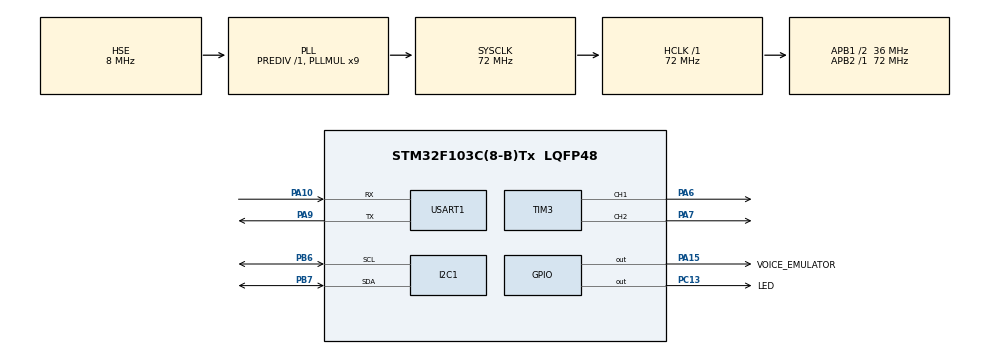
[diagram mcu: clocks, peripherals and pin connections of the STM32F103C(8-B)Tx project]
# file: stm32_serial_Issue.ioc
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Dma.Request0=USART1_TX
Dma.USART1_TX.0.Direction=DMA_MEMORY_TO_PERIPH
Dma.USART1_TX.0.Instance=DMA1_Channel4
Dma.USART1_TX.0.MemDataAlignment=DMA_MDATAALIGN_BYTE
Dma.USART1_TX.0.MemInc=DMA_MINC_ENABLE
Dma.USART1_TX.0.Mode=DMA_NORMAL
Dma.USART1_TX.0.PeriphDataAlignment=DMA_PDATAALIGN_BYTE
Dma.USART1_TX.0.PeriphInc=DMA_PINC_DISABLE
Dma.USART1_TX.0.Priority=DMA_PRIORITY_LOW
FREERTOS.Mutexes01=uart_newText,Dynamic,NULL,Available
FREERTOS.Tasks01=defaultTask,0,128,StartDefaultTask,Default,NULL,Dynamic,NULL,NULL;myTask_1,0,128,StartTask_1,Default,NULL,Dynamic,NULL,NULL;myTask_2,0,128,StartTask_2,Default,NULL,Dynamic,NULL,NULL
Mcu.Family=STM32F1
Mcu.Name=STM32F103C(8-B)Tx
Mcu.Package=LQFP48
NVIC.DMA1_Channel4_IRQn=true\:5\:0\:false\:false\:true\:true\:false\:true\:true
NVIC.PriorityGroup=NVIC_PRIORITYGROUP_4
NVIC.TIM2_IRQn=true\:15\:0\:false\:false\:true\:false\:false\:true\:true
NVIC.TimeBase=TIM2_IRQn
NVIC.TimeBaseIP=TIM2
NVIC.USART1_IRQn=true\:5\:0\:false\:false\:true\:true\:true\:true\:true
PA10.Mode=Asynchronous
PA10.Signal=USART1_RX
PA13.Mode=Serial_Wire
PA13.Signal=SYS_JTMS-SWDIO
PA14.Mode=Serial_Wire
PA14.Signal=SYS_JTCK-SWCLK
PA15.GPIO_Label=VOICE_EMULATOR
PA15.Signal=GPIO_Output
PA6.Signal=S_TIM3_CH1
PA7.Signal=S_TIM3_CH2
PA9.Mode=Asynchronous
PA9.Signal=USART1_TX
PB6.Mode=I2C
PB6.Signal=I2C1_SCL
PB7.Mode=I2C
PB7.Signal=I2C1_SDA
PC13-TAMPER-RTC.GPIO_Label=LED
PC13-TAMPER-RTC.Signal=GPIO_Output
PD0-OSC_IN.Mode=HSE-External-Oscillator
PD0-OSC_IN.Signal=RCC_OSC_IN
PD1-OSC_OUT.Mode=HSE-External-Oscillator
PD1-OSC_OUT.Signal=RCC_OSC_OUT
ProjectManager.HeapSize=0x200
ProjectManager.StackSize=0x400
ProjectManager.TargetToolchain=STM32CubeIDE
RCC.AHBFreq_Value=72000000
RCC.APB1CLKDivider=RCC_HCLK_DIV2
RCC.APB1Freq_Value=36000000
RCC.APB1TimFreq_Value=72000000
RCC.APB2Freq_Value=72000000
RCC.APB2TimFreq_Value=72000000
RCC.HCLKFreq_Value=72000000
RCC.PLLMUL=RCC_PLL_MUL9
RCC.PLLSourceVirtual=RCC_PLLSOURCE_HSE
RCC.SYSCLKFreq_VALUE=72000000
RCC.SYSCLKSource=RCC_SYSCLKSOURCE_PLLCLK
RCC.USBFreq_Value=72000000
SH.S_TIM3_CH1.0=TIM3_CH1,PWM Generation1 CH1
SH.S_TIM3_CH2.0=TIM3_CH2,PWM Generation2 CH2
TIM3.Channel-PWM\ Generation1\ CH1=TIM_CHANNEL_1
TIM3.Channel-PWM\ Generation2\ CH2=TIM_CHANNEL_2
USART1.VirtualMode=VM_ASYNC
VP_FREERTOS_VS_CMSIS_V1.Mode=CMSIS_V1
VP_SYS_VS_tim2.Mode=TIM2
board=custom

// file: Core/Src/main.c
/* USER CODE BEGIN Header */
/**
  ******************************************************************************
  * @file           : main.c
  * @brief          : Main program body
  ******************************************************************************
  * @attention
  *
  * Copyright (c) 2024 STMicroelectronics.
  * All rights reserved.
  *
  * This software is licensed under terms that can be found in the LICENSE file
  * in the root directory of this software component.
  * If no LICENSE file comes with this software, it is provided AS-IS.
  *
  ******************************************************************************
  */
/* USER CODE END Header */
#include "main.h"
#include "cmsis_os.h"

/* USER CODE BEGIN Includes */
#include <stdio.h>

#include "ds3231.h"
//#include "i2c_addrScaner.h"

//#define I2C_SCANER

#ifdef I2C_SCANER
#define I2C_REQUEST_WRITE 0x00 //I2C scanner
#endif

#ifndef USE_FULL_LL_DRIVER
#define USE_FULL_LL_DRIVER
#endif

//#define SET_TIME_DATE

/* USER CODE END Includes */

/* USER CODE BEGIN PTD */

uint8_t dataCl[]="\r";
int isSent =1;

UART_HandleTypeDef huart1;
DMA_HandleTypeDef hdma_usart1_rx;
DMA_HandleTypeDef hdma_usart1_tx;

I2C_HandleTypeDef hi2c1;

/*++++++++ I2C scanner values ++++++++++++*/

char CDC_tx_buff[64];
char CDC_rx_buff[8];
uint8_t CDC_rx_flag = 0;
uint32_t I2C_speed[4] = { 100000, 200000, 300000, 400000 };
/*==========================================*/

/*++++++++ DS3231 values ++++++++++++*/
char I2C_tx_buff_Rg[64];
char I2C_tx_buff_St[64];
char I2C_tx_buff_Sec[64];
char DS3231_get_Sec[64];
char DS3231_get_Min[64];
char DS3231_get_Hour[64];
char DS3231_get_Week[64];
char DS3231_get_Date[64];
char DS3231_get_Yar[64];

uint8_t seconds;
uint8_t minutes;
uint8_t hours;
uint8_t countAlarm1 = 0;
/*==========================================*/

void HAL_UART_TxCpltCallback(UART_HandleTypeDef *huart){
	isSent =1;
}
uint8_t I2C_Check(uint16_t addr);
uint8_t I2C_Roll_Speed(uint16_t addr);

//+++++++++++
void printr(uint8_t reg) {
	sprintf(I2C_tx_buff_Rg, "Reg 0x%02x ", reg);

	  HAL_UART_Transmit_IT(&huart1, I2C_tx_buff_Rg, 64);
	  isSent = 0;
       while(!isSent){
       }

	uint8_t val;
	HAL_I2C_Master_Transmit(_ds3231_ui2c, DS3231_I2C_ADDR << 1, &reg, 1,
			DS3231_TIMEOUT);
	HAL_StatusTypeDef s = HAL_I2C_Master_Receive(_ds3231_ui2c,
			DS3231_I2C_ADDR << 1, &val, 1, DS3231_TIMEOUT);
	for (uint8_t i = 0; i < 8; i++) {
		printf("%d", (val >> (7 - i)) & 1);
	}
	sprintf(I2C_tx_buff_St, "status %d\n\r", s);
	  HAL_UART_Transmit_IT(&huart1, I2C_tx_buff_St, 64);
	  isSent = 0;
     while(!isSent){
     }
	//printf("\n");
}

/* USER CODE END PTD */

I2C_HandleTypeDef hi2c1;

UART_HandleTypeDef huart1;
DMA_HandleTypeDef hdma_usart1_tx;

osThreadId defaultTaskHandle;
osThreadId myTask_1Handle;
osThreadId myTask_2Handle;
osMutexId uart_newTextHandle;

void SystemClock_Config(void);
static void MX_GPIO_Init(void);
static void MX_DMA_Init(void);
static void MX_USART1_UART_Init(void);
static void MX_I2C1_Init(void);
static void MX_TIM3_Init(void);
void StartDefaultTask(void const * argument);
void StartTask_1(void const * argument);
void StartTask_2(void const * argument);

/* USER CODE BEGIN 0 */
typedef  uint32_t TaskProfiler;

TaskProfiler StartTask_1_Profiler, StartTask_2_Profiler, Default_Tread_Profiler;

/* USER CODE END 0 */

int main(void)
{

	__disable_irq();

  /* MCU Configuration--------------------------------------------------------*/

  /* Reset of all peripherals, Initializes the Flash interface and the Systick. */
  HAL_Init();

  /* Configure the system clock */
  SystemClock_Config();

  /* Initialize all configured peripherals */
  MX_GPIO_Init();
  MX_DMA_Init();
  MX_USART1_UART_Init();
  MX_I2C1_Init();
  MX_TIM3_Init();
  /* USER CODE BEGIN 2 */

/*++++++++++++ DS3231 I2C communication +++++++++++++++*/

	//DS3231 init function. Pass I2C handle.
	DS3231_Init(&hi2c1);
	//Disable interrupts while we set interrupt configs.
	__disable_irq();

	//Set interrupt mode to square wave mode, enable square wave interrupt at pin 3.
	DS3231_SetInterruptMode(DS3231_SQUARE_WAVE_INTERRUPT);
	//Set interrupting frequency to 1 Hz.
	DS3231_SetRateSelect(DS3231_1HZ);

#ifdef SET_TIME_DATE
	//Set time.
	DS3231_SetFullTime(18, 29, 00);
	//Set date.
	DS3231_SetFullDate(14, 01, 2, 2025);

#endif
	//Print all register values, for demonstration purpose

#ifdef CHECK_STATUS_REG

  	for(uint8_t i = 0x00; i < 0x13; i++)
    		printr(i);
	//Enable interrupts after finishing.
#endif
  __enable_irq();
  /*============ END DS3231 I2C communication=============*/
  /*++++++++++++ DS3231 ALARMs setings +++++++++++++++*/
   DS3231_EnableAlarm2(DS3231_ENABLED);
   DS3231_ClearAlarm2Flag();
   DS3231_SetAlarm2Minute(14);

   /*
   for(uint8_t min=0; min<60;min++){
   DS3231_SetAlarm2Minute(min);
   }
   */
  /* USER CODE END 2 */

  /* Create the mutex(es) */
  /* definition and creation of uart_newText */
  osMutexDef(uart_newText);
  uart_newTextHandle = osMutexCreate(osMutex(uart_newText));

  /* Create the thread(s) */
  /* definition and creation of defaultTask */
  osThreadDef(defaultTask, StartDefaultTask, osPriorityNormal, 0, 128);
  defaultTaskHandle = osThreadCreate(osThread(defaultTask), NULL);

  /* definition and creation of myTask_1 */
  osThreadDef(myTask_1, StartTask_1, osPriorityNormal, 0, 128);
  myTask_1Handle = osThreadCreate(osThread(myTask_1), NULL);

  /* definition and creation of myTask_2 */
  osThreadDef(myTask_2, StartTask_2, osPriorityNormal, 0, 128);
  myTask_2Handle = osThreadCreate(osThread(myTask_2), NULL);

  /* Start scheduler */
  osKernelStart();

  /* We should never get here as control is now taken by the scheduler */

  /* Infinite loop */
  while (1)
  {

  }
}

void SystemClock_Config(void)
{
  RCC_OscInitTypeDef RCC_OscInitStruct = {0};
  RCC_ClkInitTypeDef RCC_ClkInitStruct = {0};

  /** Initializes the RCC Oscillators according to the specified parameters
  * in the RCC_OscInitTypeDef structure.
  */
  RCC_OscInitStruct.OscillatorType = RCC_OSCILLATORTYPE_HSE;
  RCC_OscInitStruct.HSEState = RCC_HSE_ON;
  RCC_OscInitStruct.HSEPredivValue = RCC_HSE_PREDIV_DIV1;
  RCC_OscInitStruct.HSIState = RCC_HSI_ON;
  RCC_OscInitStruct.PLL.PLLState = RCC_PLL_ON;
  RCC_OscInitStruct.PLL.PLLSource = RCC_PLLSOURCE_HSE;
  RCC_OscInitStruct.PLL.PLLMUL = RCC_PLL_MUL9;
  if (HAL_RCC_OscConfig(&RCC_OscInitStruct) != HAL_OK)
  {
    Error_Handler();
  }

  /** Initializes the CPU, AHB and APB buses clocks
  */
  RCC_ClkInitStruct.ClockType = RCC_CLOCKTYPE_HCLK|RCC_CLOCKTYPE_SYSCLK
                              |RCC_CLOCKTYPE_PCLK1|RCC_CLOCKTYPE_PCLK2;
  RCC_ClkInitStruct.SYSCLKSource = RCC_SYSCLKSOURCE_PLLCLK;
  RCC_ClkInitStruct.AHBCLKDivider = RCC_SYSCLK_DIV1;
  RCC_ClkInitStruct.APB1CLKDivider = RCC_HCLK_DIV2;
  RCC_ClkInitStruct.APB2CLKDivider = RCC_HCLK_DIV1;

  if (HAL_RCC_ClockConfig(&RCC_ClkInitStruct, FLASH_LATENCY_2) != HAL_OK)
  {
    Error_Handler();
  }
}

static void MX_I2C1_Init(void)
{

  hi2c1.Instance = I2C1;
  hi2c1.Init.ClockSpeed = 100000;
  hi2c1.Init.DutyCycle = I2C_DUTYCYCLE_2;
  hi2c1.Init.OwnAddress1 = 0;
  hi2c1.Init.AddressingMode = I2C_ADDRESSINGMODE_7BIT;
  hi2c1.Init.DualAddressMode = I2C_DUALADDRESS_DISABLE;
  hi2c1.Init.OwnAddress2 = 0;
  hi2c1.Init.GeneralCallMode = I2C_GENERALCALL_DISABLE;
  hi2c1.Init.NoStretchMode = I2C_NOSTRETCH_DISABLE;
  if (HAL_I2C_Init(&hi2c1) != HAL_OK)
  {
    Error_Handler();
  }

}

static void MX_TIM3_Init(void)
{

  LL_TIM_InitTypeDef TIM_InitStruct = {0};
  LL_TIM_OC_InitTypeDef TIM_OC_InitStruct = {0};

  LL_GPIO_InitTypeDef GPIO_InitStruct = {0};

  /* Peripheral clock enable */
  LL_APB1_GRP1_EnableClock(LL_APB1_GRP1_PERIPH_TIM3);

  TIM_InitStruct.Prescaler = 0;
  TIM_InitStruct.CounterMode = LL_TIM_COUNTERMODE_UP;
  TIM_InitStruct.Autoreload = 65535;
  TIM_InitStruct.ClockDivision = LL_TIM_CLOCKDIVISION_DIV1;
  LL_TIM_Init(TIM3, &TIM_InitStruct);
  LL_TIM_DisableARRPreload(TIM3);
  LL_TIM_OC_EnablePreload(TIM3, LL_TIM_CHANNEL_CH1);
  TIM_OC_InitStruct.OCMode = LL_TIM_OCMODE_PWM1;
  TIM_OC_InitStruct.OCState = LL_TIM_OCSTATE_DISABLE;
  TIM_OC_InitStruct.OCNState = LL_TIM_OCSTATE_DISABLE;
  TIM_OC_InitStruct.CompareValue = 0;
  TIM_OC_InitStruct.OCPolarity = LL_TIM_OCPOLARITY_HIGH;
  LL_TIM_OC_Init(TIM3, LL_TIM_CHANNEL_CH1, &TIM_OC_InitStruct);
  LL_TIM_OC_DisableFast(TIM3, LL_TIM_CHANNEL_CH1);
  LL_TIM_OC_EnablePreload(TIM3, LL_TIM_CHANNEL_CH2);
  LL_TIM_OC_Init(TIM3, LL_TIM_CHANNEL_CH2, &TIM_OC_InitStruct);
  LL_TIM_OC_DisableFast(TIM3, LL_TIM_CHANNEL_CH2);
  LL_TIM_SetTriggerOutput(TIM3, LL_TIM_TRGO_RESET);
  LL_TIM_DisableMasterSlaveMode(TIM3);
  LL_APB2_GRP1_EnableClock(LL_APB2_GRP1_PERIPH_GPIOA);
  /**TIM3 GPIO Configuration
  PA6   ------> TIM3_CH1
  PA7   ------> TIM3_CH2
  */
  GPIO_InitStruct.Pin = LL_GPIO_PIN_6|LL_GPIO_PIN_7;
  GPIO_InitStruct.Mode = LL_GPIO_MODE_ALTERNATE;
  GPIO_InitStruct.Speed = LL_GPIO_SPEED_FREQ_LOW;
  GPIO_InitStruct.OutputType = LL_GPIO_OUTPUT_PUSHPULL;
  LL_GPIO_Init(GPIOA, &GPIO_InitStruct);

}

static void MX_USART1_UART_Init(void)
{

  huart1.Instance = USART1;
  huart1.Init.BaudRate = 115200;
  huart1.Init.WordLength = UART_WORDLENGTH_8B;
  huart1.Init.StopBits = UART_STOPBITS_1;
  huart1.Init.Parity = UART_PARITY_NONE;
  huart1.Init.Mode = UART_MODE_TX_RX;
  huart1.Init.HwFlowCtl = UART_HWCONTROL_NONE;
  huart1.Init.OverSampling = UART_OVERSAMPLING_16;
  if (HAL_UART_Init(&huart1) != HAL_OK)
  {
    Error_Handler();
  }

}

static void MX_DMA_Init(void)
{

  /* DMA controller clock enable */
  __HAL_RCC_DMA1_CLK_ENABLE();

  /* DMA interrupt init */
  /* DMA1_Channel4_IRQn interrupt configuration */
  HAL_NVIC_SetPriority(DMA1_Channel4_IRQn, 5, 0);
  HAL_NVIC_EnableIRQ(DMA1_Channel4_IRQn);

}

static void MX_GPIO_Init(void)
{
  GPIO_InitTypeDef GPIO_InitStruct = {0};

  /* GPIO Ports Clock Enable */
  __HAL_RCC_GPIOC_CLK_ENABLE();
  __HAL_RCC_GPIOD_CLK_ENABLE();
  __HAL_RCC_GPIOA_CLK_ENABLE();
  __HAL_RCC_GPIOB_CLK_ENABLE();

  /*Configure GPIO pin Output Level */
  HAL_GPIO_WritePin(LED_GPIO_Port, LED_Pin, GPIO_PIN_RESET);

  /*Configure GPIO pin Output Level */
  HAL_GPIO_WritePin(VOICE_EMULATOR_GPIO_Port, VOICE_EMULATOR_Pin, GPIO_PIN_RESET);

  /*Configure GPIO pin : LED_Pin */
  GPIO_InitStruct.Pin = LED_Pin;
  GPIO_InitStruct.Mode = GPIO_MODE_OUTPUT_PP;
  GPIO_InitStruct.Pull = GPIO_NOPULL;
  GPIO_InitStruct.Speed = GPIO_SPEED_FREQ_LOW;
  HAL_GPIO_Init(LED_GPIO_Port, &GPIO_InitStruct);

  /*Configure GPIO pin : VOICE_EMULATOR_Pin */
  GPIO_InitStruct.Pin = VOICE_EMULATOR_Pin;
  GPIO_InitStruct.Mode = GPIO_MODE_OUTPUT_PP;
  GPIO_InitStruct.Pull = GPIO_NOPULL;
  GPIO_InitStruct.Speed = GPIO_SPEED_FREQ_LOW;
  HAL_GPIO_Init(VOICE_EMULATOR_GPIO_Port, &GPIO_InitStruct);

}

void StartDefaultTask(void const * argument)
{
  /* USER CODE BEGIN 5 */
  /* Infinite loop */
  for(;;)
  {

seconds = DS3231_GetSecond();

minutes = DS3231_GetMinute();

hours = DS3231_GetHour();

sprintf(DS3231_get_Hour, "time is: %d:%d:%d\n\r", hours, minutes, seconds);
HAL_UART_Transmit_IT(&huart1, DS3231_get_Hour, 64);

isSent = 0;

    osDelay(5000);
  }
  /* USER CODE END 5 */
}

void StartTask_1(void const * argument)
{
  /* USER CODE BEGIN StartTask_1 */
  /* Infinite loop */
  for(;;)
  {
	StartTask_1_Profiler++;
if (DS3231_IsAlarm2Triggered()){
	   countAlarm1++;
}
    osDelay(500);
  }
  /* USER CODE END StartTask_1 */
}

void StartTask_2(void const * argument)
{
  /* USER CODE BEGIN StartTask_2 */
  /* Infinite loop */
  for(;;)
  {
	StartTask_2_Profiler++;
    //osDelay(1);
  }
  /* USER CODE END StartTask_2 */
}

void HAL_TIM_PeriodElapsedCallback(TIM_HandleTypeDef *htim)
{
  if (htim->Instance == TIM2) {
    HAL_IncTick();
  }
}

void Error_Handler(void)
{
  __disable_irq();
  while (1)
  {
  }
}
